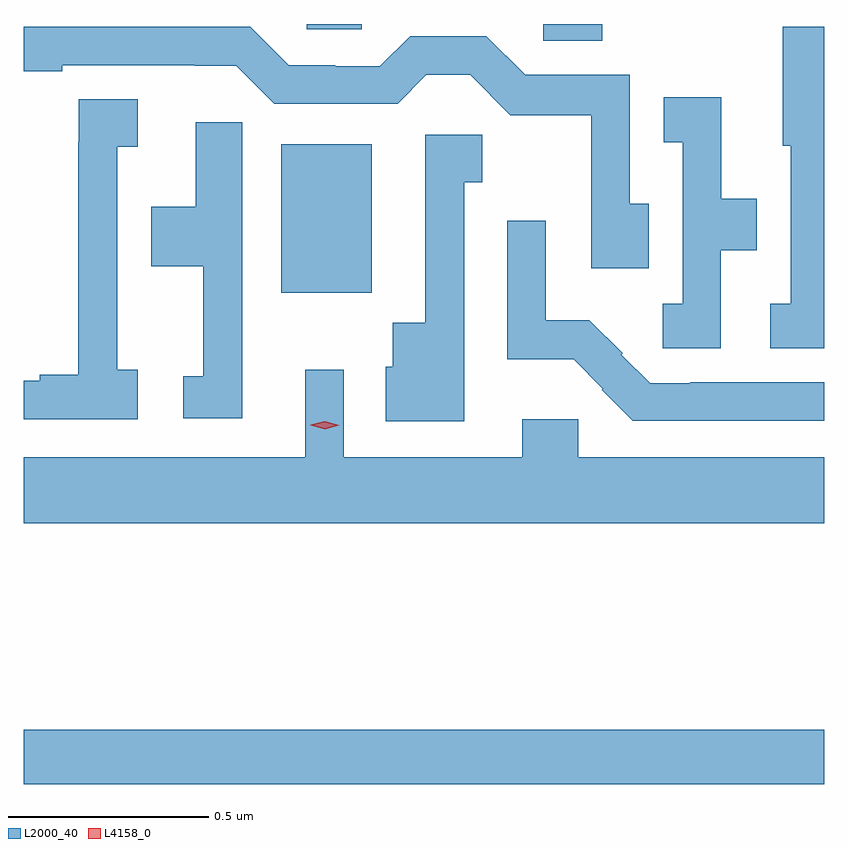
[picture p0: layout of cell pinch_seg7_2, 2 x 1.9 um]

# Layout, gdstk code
import gdstk
lib = gdstk.Library(unit=1e-6, precision=1e-09)
def R(c, l, rs):  # rectangles x0, y0, x1, y1
    for r in rs: c.add(gdstk.rectangle(r[:2], r[2:], *l))
def P(c, l, *ps):  # polygons
    for p in ps: c.add(gdstk.Polygon(p, *l))
L2000_40 = (2000, 40)
L4158_0 = (4158, 0)

pinch_seg7_2 = lib.new_cell('pinch_seg7_2')
R(pinch_seg7_2, L2000_40, [(1092.622,1042.588,1094.622,1042.724), (1093.265,1043.816,1093.492,1044.187), (1093.92,1044.445,1094.067,1044.487), (1093.329,1044.474,1093.467,1044.487)])
P(pinch_seg7_2, L2000_40, [(1094.183,1044.038),(1094.136,1044.038),(1094.136,1044.36),(1093.875,1044.36),(1093.778,1044.457),(1093.588,1044.457),(1093.512,1044.381),(1093.4,1044.381),(1093.4,1044.384),(1093.284,1044.384),(1093.188,1044.48),(1092.622,1044.48),(1092.622,1044.369),(1092.718,1044.369),(1092.718,1044.384),(1093.049,1044.384),(1093.049,1044.383),(1093.153,1044.383),(1093.248,1044.288),(1093.557,1044.288),(1093.628,1044.36),(1093.738,1044.36),(1093.838,1044.259),(1094.04,1044.259),(1094.04,1043.877),(1094.183,1043.877)],
  [(1094.622,1044.48),(1094.519,1044.48),(1094.519,1044.183),(1094.538,1044.183),(1094.538,1043.788),(1094.487,1043.788),(1094.487,1043.677),(1094.622,1043.677)],
  [(1094.364,1043.922),(1094.453,1043.922),(1094.453,1044.05),(1094.365,1044.05),(1094.365,1044.304),(1094.221,1044.304),(1094.221,1044.191),(1094.268,1044.191),(1094.268,1043.788),(1094.219,1043.788),(1094.219,1043.677),(1094.364,1043.677)],
  [(1092.907,1043.623),(1092.855,1043.623),(1092.855,1044.18),(1092.907,1044.18),(1092.907,1044.299),(1092.759,1044.299),(1092.759,1044.191),(1092.758,1044.191),(1092.758,1043.61),(1092.662,1043.61),(1092.662,1043.595),(1092.622,1043.595),(1092.622,1043.499),(1092.907,1043.499)],
  [(1093.168,1044.241),(1093.052,1044.241),(1093.052,1044.03),(1092.94,1044.03),(1092.94,1043.882),(1093.07,1043.882),(1093.07,1043.607),(1093.02,1043.607),(1093.02,1043.502),(1093.168,1043.502)],
  [(1093.722,1044.091),(1093.767,1044.091),(1093.767,1044.21),(1093.625,1044.21),(1093.625,1043.74),(1093.544,1043.74),(1093.544,1043.631),(1093.526,1043.631),(1093.526,1043.495),(1093.722,1043.495)],
  [(1094.622,1043.592),(1094.287,1043.592),(1094.287,1043.589),(1094.187,1043.589),(1094.115,1043.661),(1094.118,1043.664),(1094.035,1043.747),(1093.926,1043.747),(1093.926,1043.995),(1093.83,1043.995),(1093.83,1043.649),(1093.996,1043.649),(1094.069,1043.576),(1094.066,1043.573),(1094.144,1043.496),(1094.622,1043.496)],
  [(1094.622,1043.404),(1094.007,1043.404),(1094.007,1043.5),(1093.868,1043.5),(1093.868,1043.404),(1093.422,1043.404),(1093.422,1043.623),(1093.325,1043.623),(1093.325,1043.404),(1092.622,1043.404),(1092.622,1043.24),(1094.622,1043.24)])
P(pinch_seg7_2, L4158_0, [(1093.374,1043.475),(1093.339,1043.485),(1093.339,1043.486),(1093.339,1043.486),(1093.374,1043.495),(1093.41,1043.484),(1093.41,1043.484),(1093.41,1043.484)])

lib.write_gds('pinch_seg7_2.gds')
